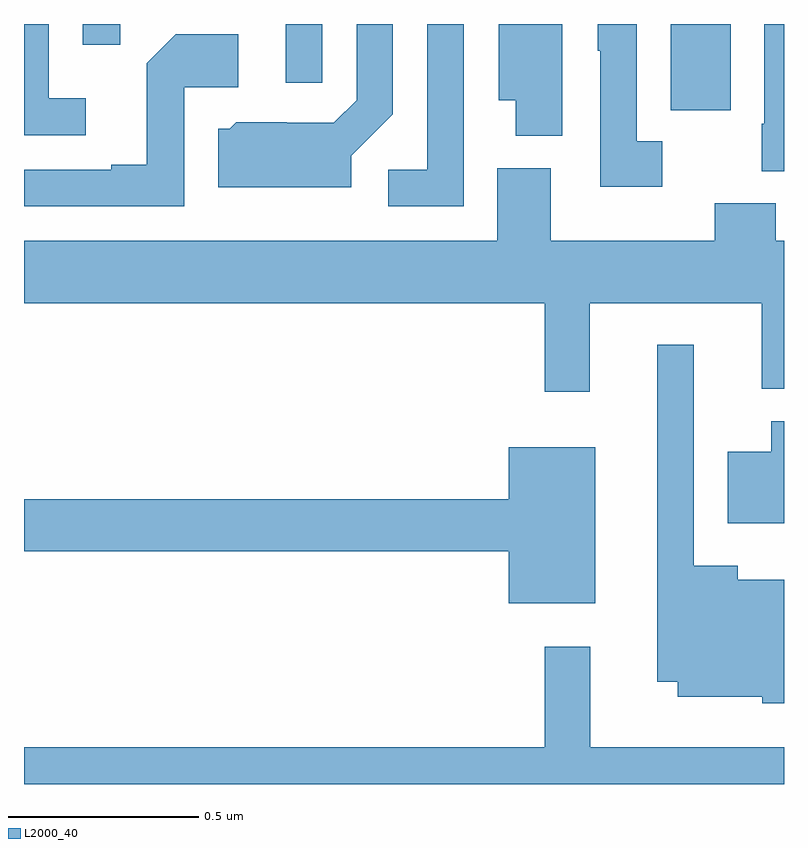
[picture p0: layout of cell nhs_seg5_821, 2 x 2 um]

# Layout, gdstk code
import gdstk
lib = gdstk.Library(unit=1e-6, precision=1e-09)
def R(c, l, rs):  # rectangles x0, y0, x1, y1
    for r in rs: c.add(gdstk.rectangle(r[:2], r[2:], *l))
def P(c, l, *ps):  # polygons
    for p in ps: c.add(gdstk.Polygon(p, *l))
L2000_40 = (2000, 40)

nhs_seg5_821 = lib.new_cell('nhs_seg5_821')
R(nhs_seg5_821, L2000_40, [(122.702,886.572,122.86,886.799), (121.689,886.644,121.785,886.799), (121.155,886.744,121.253,886.799)])
P(nhs_seg5_821, L2000_40, [(121.861,886.452),(121.971,886.562),(121.971,886.799),(121.875,886.799),(121.875,886.599),(121.815,886.539),(121.692,886.539),(121.692,886.54),(121.558,886.54),(121.542,886.524),(121.511,886.524),(121.511,886.37),(121.861,886.37)],
  [(122.416,886.799),(122.249,886.799),(122.249,886.598),(122.294,886.598),(122.294,886.505),(122.416,886.505)],
  [(123,886.799),(122.948,886.799),(122.948,886.536),(122.942,886.536),(122.942,886.412),(123,886.412)],
  [(122.68,886.491),(122.613,886.491),(122.613,886.799),(122.51,886.799),(122.51,886.728),(122.517,886.728),(122.517,886.371),(122.68,886.371)],
  [(121.162,886.603),(121.065,886.603),(121.065,886.799),(121,886.799),(121,886.506),(121.162,886.506)],
  [(122.157,886.799),(122.061,886.799),(122.061,886.416),(121.959,886.416),(121.959,886.32),(122.157,886.32)],
  [(121.422,886.632),(121.564,886.632),(121.564,886.772),(121.399,886.772),(121.323,886.696),(121.323,886.429),(121.229,886.429),(121.229,886.416),(121,886.416),(121,886.32),(121.422,886.32)],
  [(122.489,886.064),(122.942,886.064),(122.942,885.839),(123,885.839),(123,886.228),(122.978,886.228),(122.978,886.327),(122.818,886.327),(122.818,886.228),(122.386,886.228),(122.386,886.42),(122.246,886.42),(122.246,886.228),(121,886.228),(121,886.064),(122.371,886.064),(122.371,885.831),(122.489,885.831)],
  [(123,885.337),(122.878,885.337),(122.878,885.373),(122.763,885.373),(122.763,885.955),(122.666,885.955),(122.666,885.068),(122.72,885.068),(122.72,885.029),(122.943,885.029),(122.943,885.011),(123,885.011)],
  [(123,885.754),(122.966,885.754),(122.966,885.673),(122.852,885.673),(122.852,885.485),(123,885.485)],
  [(122.503,885.685),(122.276,885.685),(122.276,885.548),(121,885.548),(121,885.412),(122.276,885.412),(122.276,885.275),(122.503,885.275)],
  [(123,884.896),(122.49,884.896),(122.49,885.16),(122.371,885.16),(122.371,884.896),(121,884.896),(121,884.799),(123,884.799)])

lib.write_gds('nhs_seg5_821.gds')
